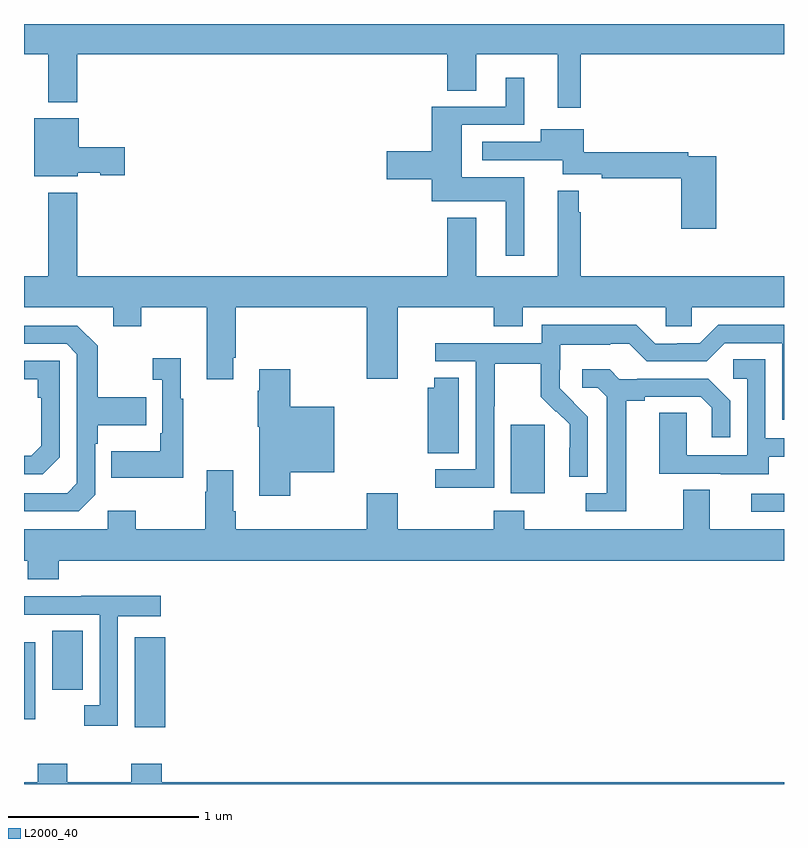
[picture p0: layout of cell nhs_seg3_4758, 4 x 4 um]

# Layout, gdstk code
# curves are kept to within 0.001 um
import gdstk
lib = gdstk.Library(unit=1e-6, precision=1e-09)
def R(c, l, rs):  # rectangles x0, y0, x1, y1
    for r in rs: c.add(gdstk.rectangle(r[:2], r[2:], *l))
def P(c, l, *ps):  # polygons
    for p in ps: c.add(gdstk.Polygon(p, *l))
L2000_40 = (2000, 40)

nhs_seg3_4758 = lib.new_cell('nhs_seg3_4758')
R(nhs_seg3_4758, L2000_40, [(367.583,706.698,367.744,707.173), (367,706.74,367.06,707.146), (367.148,706.896,367.309,707.207), (370.827,707.832,371,707.928), (369.563,707.93,369.742,708.291)])
P(nhs_seg3_4758, L2000_40, [(369.931,710.24),(371,710.24),(371,710.4),(367,710.4),(367,710.24),(367.127,710.24),(367.127,709.988),(367.28,709.988),(367.28,710.24),(369.227,710.24),(369.227,710.05),(369.379,710.05),(369.379,710.24),(369.809,710.24),(369.809,709.959),(369.931,709.959)],
  [(369.634,709.594),(369.304,709.594),(369.304,709.869),(369.634,709.869),(369.634,710.116),(369.536,710.116),(369.536,709.965),(369.146,709.965),(369.146,709.73),(368.91,709.73),(368.91,709.583),(369.146,709.583),(369.146,709.466),(369.536,709.466),(369.536,709.179),(369.634,709.179)],
  [(367.284,709.616),(367.401,709.616),(367.401,709.604),(367.531,709.604),(367.531,709.751),(367.288,709.751),(367.288,709.903),(367.055,709.903),(367.055,709.598),(367.284,709.598)],
  [(370.643,709.704),(370.496,709.704),(370.496,709.724),(369.946,709.724),(369.946,709.846),(369.719,709.846),(369.719,709.779),(369.411,709.779),(369.411,709.683),(369.836,709.683),(369.836,709.608),(370.042,709.608),(370.042,709.588),(370.46,709.588),(370.46,709.323),(370.643,709.323)],
  [(368.101,708.643),(368.114,708.643),(368.114,708.908),(368.804,708.908),(368.804,708.534),(368.968,708.534),(368.968,708.908),(369.473,708.908),(369.473,708.809),(369.625,708.809),(369.625,708.908),(370.377,708.908),(370.377,708.81),(370.515,708.81),(370.515,708.908),(371,708.908),(371,709.072),(369.931,709.072),(369.931,709.409),(369.92,709.409),(369.92,709.522),(369.809,709.522),(369.809,709.072),(369.379,709.072),(369.379,709.381),(369.227,709.381),(369.227,709.072),(367.28,709.072),(367.28,709.513),(367.127,709.513),(367.127,709.072),(367,709.072),(367,708.908),(367.469,708.908),(367.469,708.809),(367.617,708.809),(367.617,708.908),(367.961,708.908),(367.961,708.531),(368.101,708.531)],
  [(369.474,708.388),(369.477,708.388),(369.477,708.612),(369.721,708.612),(369.721,708.437),(369.798,708.36),(369.801,708.363),(369.872,708.293),(369.872,708.17),(369.87,708.17),(369.87,708.016),(369.966,708.016),(369.966,708.334),(369.82,708.482),(369.82,708.579),(369.822,708.579),(369.822,708.713),(370.085,708.713),(370.085,708.717),(370.185,708.717),(370.278,708.624),(370.593,708.624),(370.689,708.72),(370.992,708.72),(370.992,708.318),(371,708.318),(371,708.816),(370.653,708.816),(370.557,708.72),(370.439,708.72),(370.439,708.717),(370.323,708.717),(370.223,708.817),(369.726,708.817),(369.726,708.72),(369.165,708.72),(369.165,708.624),(369.378,708.624),(369.378,708.057),(369.165,708.057),(369.165,707.959),(369.474,707.959)],
  [(367.374,707.922),(367.374,708.191),(367.387,708.191),(367.387,708.287),(367.643,708.287),(367.643,708.435),(367.387,708.435),(367.387,708.707),(367.281,708.813),(367,708.813),(367,708.717),(367.224,708.717),(367.278,708.663),(367.278,707.982),(367.227,707.931),(367,707.931),(367,707.835),(367.287,707.835)],
  [(367.837,708.427),(367.825,708.427),(367.825,708.64),(367.677,708.64),(367.677,708.527),(367.728,708.527),(367.728,708.247),(367.716,708.247),(367.716,708.151),(367.459,708.151),(367.459,708.011),(367.837,708.011)],
  [(370.921,708.123),(371,708.123),(371,708.219),(370.902,708.219),(370.902,708.635),(370.734,708.635),(370.734,708.534),(370.806,708.534),(370.806,708.129),(370.488,708.129),(370.488,708.353),(370.343,708.353),(370.343,708.033),(370.667,708.033),(370.667,708.029),(370.921,708.029)],
  [(367.188,708.12),(367.188,708.627),(367,708.627),(367,708.531),(367.072,708.531),(367.072,708.434),(367.092,708.434),(367.092,708.18),(367.039,708.127),(367,708.127),(367,708.03),(367.098,708.03)],
  [(370.171,708.416),(370.267,708.416),(370.267,708.438),(370.562,708.438),(370.619,708.381),(370.619,708.225),(370.716,708.225),(370.716,708.418),(370.6,708.534),(370.228,708.534),(370.228,708.531),(370.134,708.531),(370.082,708.583),(369.939,708.583),(369.939,708.486),(370.02,708.486),(370.067,708.439),(370.067,707.931),(369.957,707.931),(369.957,707.835),(370.171,707.835)],
  [(368.4,708.041),(368.632,708.041),(368.632,708.385),(368.4,708.385),(368.4,708.583),(368.237,708.583),(368.237,708.47),(368.23,708.47),(368.23,708.281),(368.237,708.281),(368.237,707.916),(368.4,707.916)],
  [(369.289,708.539),(369.158,708.539),(369.158,708.486),(369.124,708.486),(369.124,708.142),(369.289,708.142)],
  [(367.184,707.576),(371,707.576),(371,707.74),(370.609,707.74),(370.609,707.948),(370.469,707.948),(370.469,707.74),(369.633,707.74),(369.633,707.839),(369.473,707.839),(369.473,707.74),(368.968,707.74),(368.968,707.929),(368.804,707.929),(368.804,707.74),(368.114,707.74),(368.114,707.836),(368.101,707.836),(368.101,708.052),(367.961,708.052),(367.961,707.939),(367.954,707.939),(367.954,707.74),(367.587,707.74),(367.587,707.839),(367.44,707.839),(367.44,707.74),(367,707.74),(367,707.576),(367.019,707.576),(367.019,707.477),(367.184,707.477)],
  [(367.494,707.282),(367.72,707.282),(367.72,707.39),(367.301,707.39),(367.301,707.388),(367,707.388),(367,707.291),(367.052,707.291),(367.052,707.292),(367.398,707.292),(367.398,706.815),(367.317,706.815),(367.317,706.707),(367.494,706.707)],
  [(371,706.408),(367.724,706.408),(367.724,706.507),(367.564,706.507),(367.564,706.408),(367.227,706.408),(367.227,706.507),(367.072,706.507),(367.072,706.408),(367,706.408),(367,706.4),(371,706.4)])

lib.write_gds('nhs_seg3_4758.gds')
